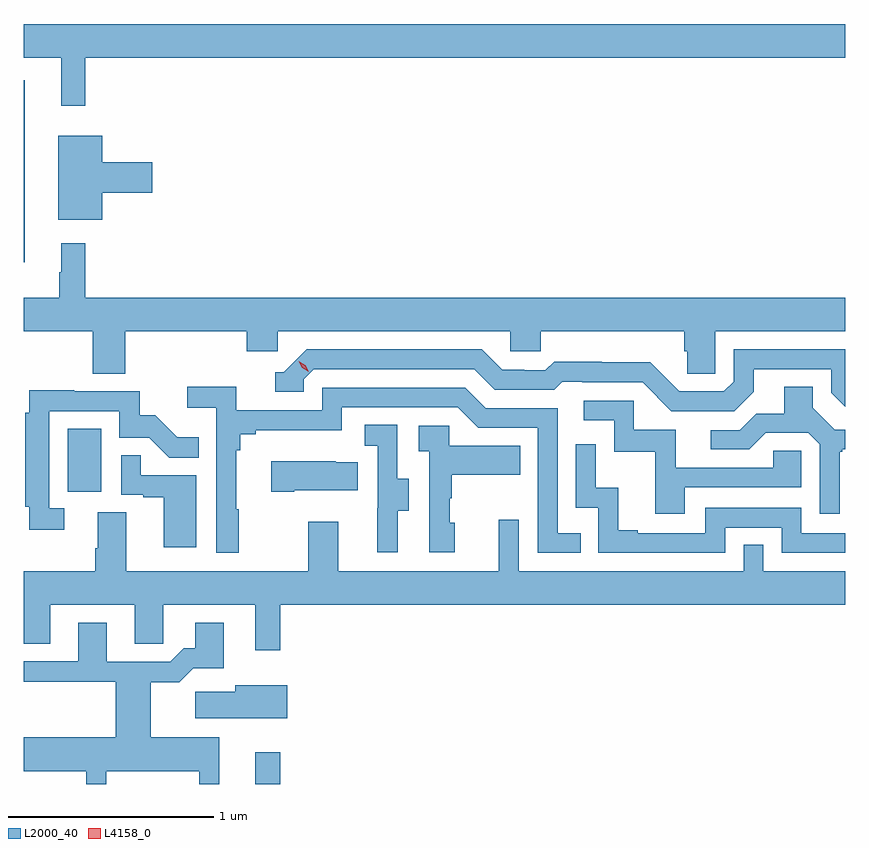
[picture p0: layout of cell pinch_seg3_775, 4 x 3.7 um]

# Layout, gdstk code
import gdstk
lib = gdstk.Library(unit=1e-6, precision=1e-09)
def R(c, l, rs):  # rectangles x0, y0, x1, y1
    for r in rs: c.add(gdstk.rectangle(r[:2], r[2:], *l))
def P(c, l, *ps):  # polygons
    for p in ps: c.add(gdstk.Polygon(p, *l))
L2000_40 = (2000, 40)
L4158_0 = (4158, 0)

pinch_seg3_775 = lib.new_cell('pinch_seg3_775')
R(pinch_seg3_775, L2000_40, [(825.797,714.695,825.919,714.85), (824.882,716.118,825.046,716.425), (824.669,717.236,824.674,718.123)])
P(pinch_seg3_775, L2000_40, [(824.669,718.232),(824.852,718.232),(824.852,717.999),(824.969,717.999),(824.969,718.232),(828.669,718.232),(828.669,718.396),(824.669,718.396)],
  [(825.052,717.575),(825.295,717.575),(825.295,717.722),(825.052,717.722),(825.052,717.853),(824.837,717.853),(824.837,717.443),(825.052,717.443)],
  [(825.164,716.9),(825.755,716.9),(825.755,716.802),(825.906,716.802),(825.906,716.9),(827.037,716.9),(827.037,716.802),(827.187,716.802),(827.187,716.9),(827.885,716.9),(827.885,716.802),(827.899,716.802),(827.899,716.692),(828.036,716.692),(828.036,716.9),(828.669,716.9),(828.669,717.064),(824.969,717.064),(824.969,717.328),(824.852,717.328),(824.852,717.188),(824.841,717.188),(824.841,717.064),(824.669,717.064),(824.669,716.9),(825.004,716.9),(825.004,716.692),(825.164,716.692)],
  [(828.223,716.605),(828.223,716.715),(828.6,716.715),(828.6,716.601),(828.669,716.532),(828.669,716.811),(828.126,716.811),(828.126,716.655),(828.078,716.607),(827.862,716.607),(827.72,716.749),(827.484,716.749),(827.484,716.752),(827.251,716.752),(827.209,716.709),(827.106,716.709),(827.106,716.712),(826.999,716.712),(826.9,716.811),(826.047,716.811),(825.936,716.7),(825.893,716.7),(825.893,716.604),(826.032,716.604),(826.032,716.667),(826.08,716.715),(826.863,716.715),(826.962,716.616),(827.251,716.616),(827.29,716.655),(827.389,716.655),(827.389,716.652),(827.682,716.652),(827.823,716.511),(828.129,716.511)],
  [(825.715,716.033),(825.703,716.033),(825.703,716.321),(825.722,716.321),(825.722,716.398),(825.799,716.398),(825.799,716.417),(826.218,716.417),(826.218,716.529),(826.782,716.529),(826.881,716.43),(827.172,716.43),(827.172,715.821),(827.381,715.821),(827.381,715.917),(827.268,715.917),(827.268,716.526),(826.918,716.526),(826.819,716.625),(826.122,716.625),(826.122,716.514),(825.704,716.514),(825.704,716.63),(825.465,716.63),(825.465,716.528),(825.606,716.528),(825.606,715.821),(825.715,715.821)],
  [(828.643,716.313),(828.655,716.313),(828.655,716.324),(828.669,716.324),(828.669,716.421),(828.618,716.421),(828.511,716.528),(828.511,716.63),(828.371,716.63),(828.371,716.498),(828.236,716.498),(828.156,716.418),(828.015,716.418),(828.015,716.325),(828.202,716.325),(828.283,716.406),(828.489,716.406),(828.546,716.349),(828.546,716.01),(828.643,716.01)],
  [(824.866,716.037),(824.793,716.037),(824.793,716.511),(825.135,716.511),(825.135,716.382),(825.279,716.382),(825.377,716.284),(825.521,716.284),(825.521,716.383),(825.417,716.383),(825.31,716.49),(825.234,716.49),(825.234,716.607),(824.915,716.607),(824.915,716.612),(824.696,716.612),(824.696,716.504),(824.677,716.504),(824.677,716.044),(824.696,716.044),(824.696,715.932),(824.866,715.932)],
  [(827.887,716.139),(828.456,716.139),(828.456,716.319),(828.319,716.319),(828.319,716.235),(827.845,716.235),(827.845,716.421),(827.64,716.421),(827.64,716.562),(827.397,716.562),(827.397,716.466),(827.544,716.466),(827.544,716.313),(827.743,716.313),(827.743,716.01),(827.887,716.01)],
  [(826.489,716.026),(826.543,716.026),(826.543,716.181),(826.488,716.181),(826.488,716.444),(826.329,716.444),(826.329,716.341),(826.392,716.341),(826.392,716.037),(826.391,716.037),(826.391,715.824),(826.489,715.824)],
  [(826.768,715.968),(826.743,715.968),(826.743,716.087),(826.753,716.087),(826.753,716.201),(827.087,716.201),(827.087,716.341),(826.74,716.341),(826.74,716.439),(826.593,716.439),(826.593,716.315),(826.644,716.315),(826.644,715.824),(826.768,715.824)],
  [(828.084,715.944),(828.36,715.944),(828.36,715.821),(828.669,715.821),(828.669,715.917),(828.456,715.917),(828.456,716.04),(827.988,716.04),(827.988,715.917),(827.659,715.917),(827.659,715.93),(827.564,715.93),(827.564,716.138),(827.454,716.138),(827.454,716.35),(827.358,716.35),(827.358,716.04),(827.466,716.04),(827.466,715.821),(828.084,715.821)],
  [(825.508,716.199),(825.239,716.199),(825.239,716.297),(825.144,716.297),(825.144,716.103),(825.251,716.103),(825.251,716.091),(825.35,716.091),(825.35,715.848),(825.508,715.848)],
  [(825.985,716.126),(826.295,716.126),(826.295,716.263),(826.187,716.263),(826.187,716.266),(825.873,716.266),(825.873,716.119),(825.985,716.119)],
  [(825.169,716.018),(825.029,716.018),(825.029,715.844),(825.017,715.844),(825.017,715.732),(824.669,715.732),(824.669,715.378),(824.797,715.378),(824.797,715.568),(825.209,715.568),(825.209,715.378),(825.348,715.378),(825.348,715.568),(825.797,715.568),(825.797,715.347),(825.919,715.347),(825.919,715.568),(828.669,715.568),(828.669,715.732),(828.27,715.732),(828.27,715.859),(828.174,715.859),(828.174,715.732),(827.079,715.732),(827.079,715.981),(826.982,715.981),(826.982,715.732),(826.201,715.732),(826.201,715.972),(826.054,715.972),(826.054,715.732),(825.169,715.732)],
  [(825.07,714.758),(825.524,714.758),(825.524,714.695),(825.622,714.695),(825.622,714.922),(825.286,714.922),(825.286,715.19),(825.425,715.19),(825.494,715.259),(825.643,715.259),(825.643,715.48),(825.503,715.48),(825.503,715.357),(825.448,715.357),(825.381,715.29),(825.073,715.29),(825.073,715.48),(824.933,715.48),(824.933,715.293),(824.669,715.293),(824.669,715.192),(825.116,715.192),(825.116,714.922),(824.669,714.922),(824.669,714.758),(824.972,714.758),(824.972,714.695),(825.07,714.695)],
  [(825.952,715.177),(825.698,715.177),(825.698,715.145),(825.504,715.145),(825.504,715.016),(825.952,715.016)])
P(pinch_seg3_775, L4158_0, [(826.057,716.702),(826.026,716.721),(826.009,716.753),(826.009,716.753),(826.009,716.753),(826.04,716.734),(826.057,716.702),(826.057,716.702)])

lib.write_gds('pinch_seg3_775.gds')
